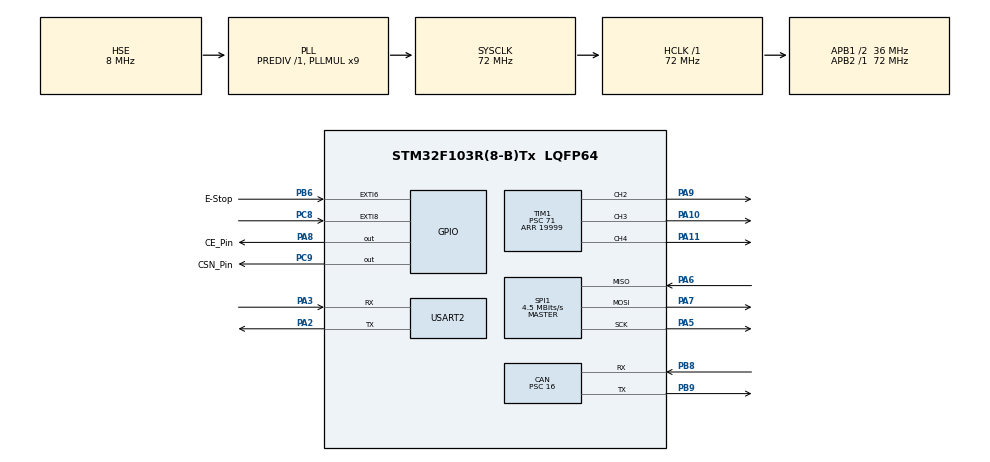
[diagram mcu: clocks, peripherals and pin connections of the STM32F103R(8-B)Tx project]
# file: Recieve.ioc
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CAN.CalculateBaudRate=749999
CAN.CalculateTimeBit=1333
CAN.CalculateTimeQuantum=444.44444444444446
CAN.Prescaler=16
CAN.SJW=CAN_SJW_1TQ
Mcu.Family=STM32F1
Mcu.Name=STM32F103R(8-B)Tx
Mcu.Package=LQFP64
NVIC.EXTI9_5_IRQn=true\:0\:0\:false\:false\:true\:true\:true\:true
NVIC.PriorityGroup=NVIC_PRIORITYGROUP_4
NVIC.TIM3_IRQn=true\:0\:0\:false\:false\:true\:true\:true\:true
PA10.Signal=S_TIM1_CH3
PA11.Signal=S_TIM1_CH4
PA2.Mode=Asynchronous
PA2.Signal=USART2_TX
PA3.Mode=Asynchronous
PA3.Signal=USART2_RX
PA5.Mode=Full_Duplex_Master
PA5.Signal=SPI1_SCK
PA6.Mode=Full_Duplex_Master
PA6.Signal=SPI1_MISO
PA7.Mode=Full_Duplex_Master
PA7.Signal=SPI1_MOSI
PA8.GPIO_Label=CE_Pin
PA8.Signal=GPIO_Output
PA9.Signal=S_TIM1_CH2
PB6.GPIO_Label=E-Stop
PB6.GPIO_ModeDefaultEXTI=GPIO_MODE_IT_FALLING
PB6.GPIO_PuPd=GPIO_PULLUP
PB6.Signal=GPXTI6
PB8.Mode=CAN_Activate
PB8.Signal=CAN_RX
PB9.Mode=CAN_Activate
PB9.Signal=CAN_TX
PC14-OSC32_IN.Mode=LSE-External-Oscillator
PC14-OSC32_IN.Signal=RCC_OSC32_IN
PC15-OSC32_OUT.Mode=LSE-External-Oscillator
PC15-OSC32_OUT.Signal=RCC_OSC32_OUT
PC8.GPIO_ModeDefaultEXTI=GPIO_MODE_IT_FALLING
PC8.GPIO_PuPd=GPIO_PULLUP
PC8.Signal=GPXTI8
PC9.GPIO_Label=CSN_Pin
PC9.Signal=GPIO_Output
PD0-OSC_IN.Mode=HSE-External-Clock-Source
PD0-OSC_IN.Signal=RCC_OSC_IN
PD1-OSC_OUT.Mode=HSE-External-Clock-Source
PD1-OSC_OUT.Signal=RCC_OSC_OUT
ProjectManager.HeapSize=0x200
ProjectManager.StackSize=0x400
ProjectManager.TargetToolchain=STM32CubeIDE
RCC.AHBFreq_Value=72000000
RCC.APB1CLKDivider=RCC_HCLK_DIV2
RCC.APB1Freq_Value=36000000
RCC.APB1TimFreq_Value=72000000
RCC.APB2Freq_Value=72000000
RCC.APB2TimFreq_Value=72000000
RCC.HCLKFreq_Value=72000000
RCC.PLLMUL=RCC_PLL_MUL9
RCC.PLLSourceVirtual=RCC_PLLSOURCE_HSE
RCC.SYSCLKFreq_VALUE=72000000
RCC.SYSCLKSource=RCC_SYSCLKSOURCE_PLLCLK
RCC.USBFreq_Value=72000000
SH.S_TIM1_CH2.0=TIM1_CH2,PWM Generation2 CH2
SH.S_TIM1_CH3.0=TIM1_CH3,PWM Generation3 CH3
SH.S_TIM1_CH4.0=TIM1_CH4,PWM Generation4 CH4
SPI1.BaudRatePrescaler=SPI_BAUDRATEPRESCALER_16
SPI1.CalculateBaudRate=4.5 MBits/s
SPI1.Direction=SPI_DIRECTION_2LINES
SPI1.Mode=SPI_MODE_MASTER
SPI1.VirtualType=VM_MASTER
TIM1.Channel-PWM\ Generation2\ CH2=TIM_CHANNEL_2
TIM1.Channel-PWM\ Generation3\ CH3=TIM_CHANNEL_3
TIM1.Channel-PWM\ Generation4\ CH4=TIM_CHANNEL_4
TIM1.Period=19999
TIM1.Prescaler=71
TIM3.Period=500-1
TIM3.Prescaler=7200-1
USART2.VirtualMode=VM_ASYNC
VP_SYS_VS_ND.Mode=No_Debug
VP_TIM1_VS_ClockSourceINT.Mode=Internal
VP_TIM3_VS_ClockSourceINT.Mode=Internal
board=custom

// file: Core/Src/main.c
/* USER CODE BEGIN Header */
/**
  ******************************************************************************
  * @file           : main.c
  * @brief          : Main program body
  ******************************************************************************
  * @attention
  *
  * Copyright (c) 2025 STMicroelectronics.
  * All rights reserved.
  *
  * This software is licensed under terms that can be found in the LICENSE file
  * in the root directory of this software component.
  * If no LICENSE file comes with this software, it is provided AS-IS.
  *
  ******************************************************************************
  */
/* USER CODE END Header */
#include "main.h"

/* USER CODE BEGIN Includes */
#include "NRF24.h"
#include "NRF24_conf.h"
#include "NRF24_reg_addresses.h"
#include "stdio.h"
#include "stdlib.h"
#include <math.h>

/* USER CODE END Includes */

/* USER CODE BEGIN PD */
#define ADC_MAX 4090     // 실제 최대값
#define ADC_MIN 0
#define ADC_NEU 2045	//ADC 중간값 4090/2
#define ADC_DEAD_ZONE 300	//데드존 처리 100

#define ROTATION_CONST -0.85f    // 회전 상수

#define RX_TIMEOUT_MS 100	//안정장치-100ms동안 조종기 신호가 없으면 통신이 끊겼다고 판단하고 모터를 정지시킴

#define MAX_ERPM 5000.0f

/* USER CODE END PD */

CAN_HandleTypeDef hcan;

SPI_HandleTypeDef hspi1;

TIM_HandleTypeDef htim1;
TIM_HandleTypeDef htim3;

UART_HandleTypeDef huart2;

/* USER CODE BEGIN PV */
uint8_t rx_address[5] = {0xE7, 0xE7, 0xE7, 0xE7, 0xE7}; // 수신 파이프 주소를 송신부와 동일하게 설정

//interrupt flag
volatile uint8_t nrf_irq_flag = 0;
volatile uint8_t watchdog_flag = 0;

//system state
static uint32_t last_rx_ms = 0;
static uint16_t pwm_active = 0;

//E stop 래치 플래그
volatile estop_latched =0;

/* USER CODE END PV */

void SystemClock_Config(void);
static void MX_GPIO_Init(void);
static void MX_SPI1_Init(void);
static void MX_TIM1_Init(void);
static void MX_USART2_UART_Init(void);
static void MX_TIM3_Init(void);
static void MX_CAN_Init(void);
/* USER CODE BEGIN PFP */
//함수선언
void nrf24_receiver_setup(void);
void nrf24_irq_service(void);
void system_watchdog_service(void); // ★ Watchdog service function
float NormalizeADC(int16_t delta);
uint16_t SpeedToPWMus(float value);
void KiwiDrive(float vx, float vy, float omega);
void DebugUART(uint16_t rawX, uint16_t rawY, uint16_t rawZ);
void PWM_StartNeutral(void);
void PWM_StopAll(void);
/* USER CODE END PFP */

int main(void)
{

  /* MCU Configuration--------------------------------------------------------*/

  /* Reset of all peripherals, Initializes the Flash interface and the Systick. */
  HAL_Init();

  /* Configure the system clock */
  SystemClock_Config();

  /* Initialize all configured peripherals */
  MX_GPIO_Init();
  MX_SPI1_Init();
  MX_TIM1_Init();
  MX_USART2_UART_Init();
  MX_TIM3_Init();
  MX_CAN_Init();
  /* USER CODE BEGIN 2 */
  // nRF24 초기화 (수신기)
  nrf24_init();
  nrf24_receiver_setup();
  HAL_TIM_Base_Start_IT(&htim3);	//TIM3 시작

  /* USER CODE END 2 */

  /* Infinite loop */
  while (1)
  {

    /* USER CODE BEGIN 3 */
	  //---데이터 수신 이벤트 처리---
	  if(nrf_irq_flag){
		  nrf_irq_flag = 0;	//flag 내리기
		  nrf24_irq_service();	//데이터 처리 함수 호출, 모터 제어
	  }
	  //---TIM3기반 와치독 이벤트 처리---
	  if(watchdog_flag){
		  watchdog_flag = 0;	//확인 후 flag 내림
		  system_watchdog_service();	//와치독 함수 호출
	  }

	  //---저전력 모드 진입(WFI)---
	  if(!nrf_irq_flag && !watchdog_flag){	//두개의 flag가 내려가 있으면 처리할 이벤트가 없으므로 WFI
		  __WFI();
	  }
  }
  /* USER CODE END 3 */
}

void SystemClock_Config(void)
{
  RCC_OscInitTypeDef RCC_OscInitStruct = {0};
  RCC_ClkInitTypeDef RCC_ClkInitStruct = {0};

  /** Initializes the RCC Oscillators according to the specified parameters
  * in the RCC_OscInitTypeDef structure.
  */
  RCC_OscInitStruct.OscillatorType = RCC_OSCILLATORTYPE_HSE;
  RCC_OscInitStruct.HSEState = RCC_HSE_BYPASS;
  RCC_OscInitStruct.HSEPredivValue = RCC_HSE_PREDIV_DIV1;
  RCC_OscInitStruct.HSIState = RCC_HSI_ON;
  RCC_OscInitStruct.PLL.PLLState = RCC_PLL_ON;
  RCC_OscInitStruct.PLL.PLLSource = RCC_PLLSOURCE_HSE;
  RCC_OscInitStruct.PLL.PLLMUL = RCC_PLL_MUL9;
  if (HAL_RCC_OscConfig(&RCC_OscInitStruct) != HAL_OK)
  {
    Error_Handler();
  }

  /** Initializes the CPU, AHB and APB buses clocks
  */
  RCC_ClkInitStruct.ClockType = RCC_CLOCKTYPE_HCLK|RCC_CLOCKTYPE_SYSCLK
                              |RCC_CLOCKTYPE_PCLK1|RCC_CLOCKTYPE_PCLK2;
  RCC_ClkInitStruct.SYSCLKSource = RCC_SYSCLKSOURCE_PLLCLK;
  RCC_ClkInitStruct.AHBCLKDivider = RCC_SYSCLK_DIV1;
  RCC_ClkInitStruct.APB1CLKDivider = RCC_HCLK_DIV2;
  RCC_ClkInitStruct.APB2CLKDivider = RCC_HCLK_DIV1;

  if (HAL_RCC_ClockConfig(&RCC_ClkInitStruct, FLASH_LATENCY_2) != HAL_OK)
  {
    Error_Handler();
  }
}

static void MX_CAN_Init(void)
{

  hcan.Instance = CAN1;
  hcan.Init.Prescaler = 16;
  hcan.Init.Mode = CAN_MODE_NORMAL;
  hcan.Init.SyncJumpWidth = CAN_SJW_1TQ;
  hcan.Init.TimeSeg1 = CAN_BS1_1TQ;
  hcan.Init.TimeSeg2 = CAN_BS2_1TQ;
  hcan.Init.TimeTriggeredMode = DISABLE;
  hcan.Init.AutoBusOff = DISABLE;
  hcan.Init.AutoWakeUp = DISABLE;
  hcan.Init.AutoRetransmission = DISABLE;
  hcan.Init.ReceiveFifoLocked = DISABLE;
  hcan.Init.TransmitFifoPriority = DISABLE;
  if (HAL_CAN_Init(&hcan) != HAL_OK)
  {
    Error_Handler();
  }

}

static void MX_SPI1_Init(void)
{

  /* SPI1 parameter configuration*/
  hspi1.Instance = SPI1;
  hspi1.Init.Mode = SPI_MODE_MASTER;
  hspi1.Init.Direction = SPI_DIRECTION_2LINES;
  hspi1.Init.DataSize = SPI_DATASIZE_8BIT;
  hspi1.Init.CLKPolarity = SPI_POLARITY_LOW;
  hspi1.Init.CLKPhase = SPI_PHASE_1EDGE;
  hspi1.Init.NSS = SPI_NSS_SOFT;
  hspi1.Init.BaudRatePrescaler = SPI_BAUDRATEPRESCALER_16;
  hspi1.Init.FirstBit = SPI_FIRSTBIT_MSB;
  hspi1.Init.TIMode = SPI_TIMODE_DISABLE;
  hspi1.Init.CRCCalculation = SPI_CRCCALCULATION_DISABLE;
  hspi1.Init.CRCPolynomial = 10;
  if (HAL_SPI_Init(&hspi1) != HAL_OK)
  {
    Error_Handler();
  }

}

static void MX_TIM1_Init(void)
{

  TIM_ClockConfigTypeDef sClockSourceConfig = {0};
  TIM_MasterConfigTypeDef sMasterConfig = {0};
  TIM_OC_InitTypeDef sConfigOC = {0};
  TIM_BreakDeadTimeConfigTypeDef sBreakDeadTimeConfig = {0};

  htim1.Instance = TIM1;
  htim1.Init.Prescaler = 71;
  htim1.Init.CounterMode = TIM_COUNTERMODE_UP;
  htim1.Init.Period = 19999;
  htim1.Init.ClockDivision = TIM_CLOCKDIVISION_DIV1;
  htim1.Init.RepetitionCounter = 0;
  htim1.Init.AutoReloadPreload = TIM_AUTORELOAD_PRELOAD_DISABLE;
  if (HAL_TIM_Base_Init(&htim1) != HAL_OK)
  {
    Error_Handler();
  }
  sClockSourceConfig.ClockSource = TIM_CLOCKSOURCE_INTERNAL;
  if (HAL_TIM_ConfigClockSource(&htim1, &sClockSourceConfig) != HAL_OK)
  {
    Error_Handler();
  }
  if (HAL_TIM_PWM_Init(&htim1) != HAL_OK)
  {
    Error_Handler();
  }
  sMasterConfig.MasterOutputTrigger = TIM_TRGO_RESET;
  sMasterConfig.MasterSlaveMode = TIM_MASTERSLAVEMODE_DISABLE;
  if (HAL_TIMEx_MasterConfigSynchronization(&htim1, &sMasterConfig) != HAL_OK)
  {
    Error_Handler();
  }
  sConfigOC.OCMode = TIM_OCMODE_PWM1;
  sConfigOC.Pulse = 0;
  sConfigOC.OCPolarity = TIM_OCPOLARITY_HIGH;
  sConfigOC.OCNPolarity = TIM_OCNPOLARITY_HIGH;
  sConfigOC.OCFastMode = TIM_OCFAST_DISABLE;
  sConfigOC.OCIdleState = TIM_OCIDLESTATE_RESET;
  sConfigOC.OCNIdleState = TIM_OCNIDLESTATE_RESET;
  if (HAL_TIM_PWM_ConfigChannel(&htim1, &sConfigOC, TIM_CHANNEL_2) != HAL_OK)
  {
    Error_Handler();
  }
  if (HAL_TIM_PWM_ConfigChannel(&htim1, &sConfigOC, TIM_CHANNEL_3) != HAL_OK)
  {
    Error_Handler();
  }
  if (HAL_TIM_PWM_ConfigChannel(&htim1, &sConfigOC, TIM_CHANNEL_4) != HAL_OK)
  {
    Error_Handler();
  }
  sBreakDeadTimeConfig.OffStateRunMode = TIM_OSSR_DISABLE;
  sBreakDeadTimeConfig.OffStateIDLEMode = TIM_OSSI_DISABLE;
  sBreakDeadTimeConfig.LockLevel = TIM_LOCKLEVEL_OFF;
  sBreakDeadTimeConfig.DeadTime = 0;
  sBreakDeadTimeConfig.BreakState = TIM_BREAK_DISABLE;
  sBreakDeadTimeConfig.BreakPolarity = TIM_BREAKPOLARITY_HIGH;
  sBreakDeadTimeConfig.AutomaticOutput = TIM_AUTOMATICOUTPUT_DISABLE;
  if (HAL_TIMEx_ConfigBreakDeadTime(&htim1, &sBreakDeadTimeConfig) != HAL_OK)
  {
    Error_Handler();
  }
  HAL_TIM_MspPostInit(&htim1);

}

static void MX_TIM3_Init(void)
{

  TIM_ClockConfigTypeDef sClockSourceConfig = {0};
  TIM_MasterConfigTypeDef sMasterConfig = {0};

  htim3.Instance = TIM3;
  htim3.Init.Prescaler = 7200-1;
  htim3.Init.CounterMode = TIM_COUNTERMODE_UP;
  htim3.Init.Period = 500-1;
  htim3.Init.ClockDivision = TIM_CLOCKDIVISION_DIV1;
  htim3.Init.AutoReloadPreload = TIM_AUTORELOAD_PRELOAD_DISABLE;
  if (HAL_TIM_Base_Init(&htim3) != HAL_OK)
  {
    Error_Handler();
  }
  sClockSourceConfig.ClockSource = TIM_CLOCKSOURCE_INTERNAL;
  if (HAL_TIM_ConfigClockSource(&htim3, &sClockSourceConfig) != HAL_OK)
  {
    Error_Handler();
  }
  sMasterConfig.MasterOutputTrigger = TIM_TRGO_RESET;
  sMasterConfig.MasterSlaveMode = TIM_MASTERSLAVEMODE_DISABLE;
  if (HAL_TIMEx_MasterConfigSynchronization(&htim3, &sMasterConfig) != HAL_OK)
  {
    Error_Handler();
  }

}

static void MX_USART2_UART_Init(void)
{

  huart2.Instance = USART2;
  huart2.Init.BaudRate = 115200;
  huart2.Init.WordLength = UART_WORDLENGTH_8B;
  huart2.Init.StopBits = UART_STOPBITS_1;
  huart2.Init.Parity = UART_PARITY_NONE;
  huart2.Init.Mode = UART_MODE_TX_RX;
  huart2.Init.HwFlowCtl = UART_HWCONTROL_NONE;
  huart2.Init.OverSampling = UART_OVERSAMPLING_16;
  if (HAL_UART_Init(&huart2) != HAL_OK)
  {
    Error_Handler();
  }

}

static void MX_GPIO_Init(void)
{
  GPIO_InitTypeDef GPIO_InitStruct = {0};

  /* GPIO Ports Clock Enable */
  __HAL_RCC_GPIOC_CLK_ENABLE();
  __HAL_RCC_GPIOD_CLK_ENABLE();
  __HAL_RCC_GPIOA_CLK_ENABLE();
  __HAL_RCC_GPIOB_CLK_ENABLE();

  /*Configure GPIO pin Output Level */
  HAL_GPIO_WritePin(CSN_Pin_GPIO_Port, CSN_Pin_Pin, GPIO_PIN_RESET);

  /*Configure GPIO pin Output Level */
  HAL_GPIO_WritePin(CE_Pin_GPIO_Port, CE_Pin_Pin, GPIO_PIN_RESET);

  /*Configure GPIO pin : PC8 */
  GPIO_InitStruct.Pin = GPIO_PIN_8;
  GPIO_InitStruct.Mode = GPIO_MODE_IT_FALLING;
  GPIO_InitStruct.Pull = GPIO_PULLUP;
  HAL_GPIO_Init(GPIOC, &GPIO_InitStruct);

  /*Configure GPIO pin : CSN_Pin_Pin */
  GPIO_InitStruct.Pin = CSN_Pin_Pin;
  GPIO_InitStruct.Mode = GPIO_MODE_OUTPUT_PP;
  GPIO_InitStruct.Pull = GPIO_NOPULL;
  GPIO_InitStruct.Speed = GPIO_SPEED_FREQ_LOW;
  HAL_GPIO_Init(CSN_Pin_GPIO_Port, &GPIO_InitStruct);

  /*Configure GPIO pin : CE_Pin_Pin */
  GPIO_InitStruct.Pin = CE_Pin_Pin;
  GPIO_InitStruct.Mode = GPIO_MODE_OUTPUT_PP;
  GPIO_InitStruct.Pull = GPIO_NOPULL;
  GPIO_InitStruct.Speed = GPIO_SPEED_FREQ_LOW;
  HAL_GPIO_Init(CE_Pin_GPIO_Port, &GPIO_InitStruct);

  /*Configure GPIO pin : E_Stop_Pin */
  GPIO_InitStruct.Pin = E_Stop_Pin;
  GPIO_InitStruct.Mode = GPIO_MODE_IT_FALLING;
  GPIO_InitStruct.Pull = GPIO_PULLUP;
  HAL_GPIO_Init(E_Stop_GPIO_Port, &GPIO_InitStruct);

  /* EXTI interrupt init*/
  HAL_NVIC_SetPriority(EXTI9_5_IRQn, 0, 0);
  HAL_NVIC_EnableIRQ(EXTI9_5_IRQn);

}

/* USER CODE BEGIN 4 */
void HAL_GPIO_EXTI_Callback(uint16_t GPIO_Pin){
	//nRF24L01 모듈이 데이터를 수신하면 PC IRQ핀에 하강엣지 트리거 발생, 위 콜백함수 호출
	if(GPIO_Pin == GPIO_PIN_8){	//이 인터럽트가 PC8핀에서 발생했으면
		nrf_irq_flag = 1;	//Main 루프에 데이터 도착 플래그 올림
	}else if(GPIO_Pin == GPIO_PIN_6){
		//비상 정지버튼 E-STOP에서 인터럽트가 발생했다면
		PWM_StopAll();	//모든 pwm중지
		estop_latched = 1;
	}
}

void nrf24_irq_service(void){
	// E-Stop 잠금 확인
	// E-Stop이 한번이라도 눌렸으면 1, 모든 NRF 패킷을 무시함.
	if(estop_latched) {
		nrf24_stop_listen();
		uint8_t st = nrf24_r_reg(STATUS, 1);
		if(st & (1<<6)) {
			nrf24_clear_rx_dr(); // IRQ 플래그만 제거
		}
		nrf24_listen();
		return; // 모터 제어 로직을 실행하지 않고 즉시 종료
	}
	nrf24_stop_listen();
	uint8_t st = nrf24_r_reg(STATUS, 1);

	if(st & (1<<6)){
		uint8_t buf[6];
		nrf24_receive(buf,6);

		// 6바이트 2진 언패킹(unpacking)
		uint16_t rawX = (uint16_t)buf[0] | ((uint16_t)buf[1] << 8);
		uint16_t rawY = (uint16_t)buf[2] | ((uint16_t)buf[3] << 8);
		uint16_t rawZ = (uint16_t)buf[4] | ((uint16_t)buf[5] << 8);

		if(!pwm_active){
			PWM_StartNeutral();
		}

		//읽어온 값을 실제 모터 제어값으로 정규화
		float vx = NormalizeADC((int16_t)rawX); // 부호 있어야함
		float vy = NormalizeADC((int16_t)rawY);
		float omega = NormalizeADC((int16_t)rawZ);

		//변환된 값으로 키위 드라이브 알고리즘을 실행, 모터 구동
		KiwiDrive(vx, vy, omega);

		DebugUART(rawX, rawY, rawZ);
		//TIM3 워치독을 위해 마지막으로 데이터를 수신한 시간을 현재시간으로 갱신
		last_rx_ms = HAL_GetTick();

		//nrf24의 RX_DR상태 비터를 0으로 claer, 다음 인터럽트 받을 준비
		nrf24_clear_rx_dr();
	}
	nrf24_listen();	//데이터 수신 대기모드

}

void HAL_TIM_PeriodElapsedCallback(TIM_HandleTypeDef* htim){
	//50ms마다 발생하는 인터럽트(TIM3)
	if(htim->Instance == TIM3){	//이 인터럽트가 TIM3에서 발생했으면
		watchdog_flag = 1;	//Main 루프에 점검할 시간이라고 플래그 올림
	}
}

void system_watchdog_service(void){	//워치독 서비스
	// E-Stop이 눌렸으면 통신 감시도 중지
	if(estop_latched) {
			if(pwm_active) {
				PWM_StopAll(); // 혹시 모르니 다시 한번 정지
			}
			return;
		}

	if(pwm_active){
		//모터가 동작 중일때만 감시 수행
		if((HAL_GetTick() - last_rx_ms) > RX_TIMEOUT_MS){	//현재시간과 마지막 데이터 수신 시간의 차이가 타임아웃(100ms)를 초과했다면
			PWM_StopAll();	//모든 모터 정지
		}
	}
}

void PWM_StartNeutral(void){
	//초기 PWM 중립 세팅
    __HAL_TIM_SET_COMPARE(&htim1, TIM_CHANNEL_2, 1500);
    __HAL_TIM_SET_COMPARE(&htim1, TIM_CHANNEL_3, 1500);
    __HAL_TIM_SET_COMPARE(&htim1, TIM_CHANNEL_4, 1500);

    //PWM 시작
	HAL_TIM_PWM_Start(&htim1, TIM_CHANNEL_2);
	HAL_TIM_PWM_Start(&htim1, TIM_CHANNEL_3);
	HAL_TIM_PWM_Start(&htim1, TIM_CHANNEL_4);

	pwm_active = 1;	//시스템 상태를 pwm 활성화로 변경하는 플래그
}

//모든 채널의 PWM 완전 정지
void PWM_StopAll(void){
    HAL_TIM_PWM_Stop(&htim1, TIM_CHANNEL_2);
    HAL_TIM_PWM_Stop(&htim1, TIM_CHANNEL_3);
    HAL_TIM_PWM_Stop(&htim1, TIM_CHANNEL_4);

    pwm_active = 0;
}

void nrf24_receiver_setup(void){
    nrf24_defaults();                               //레지스터 기본값으로 리셋
    HAL_Delay(5);                                   //전원, spi안정화 대기(최소 4.5ms이상 필요)
    nrf24_stop_listen();
    nrf24_pwr_up();
    HAL_Delay(2);

    nrf24_flush_rx();
    nrf24_flush_tx();
    nrf24_clear_rx_dr();
    nrf24_clear_tx_ds();
    nrf24_clear_max_rt();

    nrf24_set_channel(40); //무선 채널 40설정
    nrf24_data_rate(_1mbps);
    nrf24_auto_ack_all(disable);
    nrf24_dpl(disable); //ack 비활성화
    nrf24_set_payload_size(6);

    uint8_t cfg = nrf24_r_reg(CONFIG, 1);
    // TX_DS와 MAX_RT 인터럽트는 비활성화(Mask)하고, RX_DR만 남겨둔다.
    cfg |= (1 << 5) | (1 << 4); // Bit 5와 4를 1로 만듦(비활성화)
    cfg &= ~(1 << 6);           // Bit 6은 0으로 만듦 (RX_DR 활성화)
    nrf24_w_reg(CONFIG, &cfg, 1);

    nrf24_open_rx_pipe(0, rx_address);              //파이프 0에 수신주소 설정
    nrf24_listen();                                 //CE=high => 실제 수신 대기모드 진입
    __HAL_GPIO_EXTI_CLEAR_IT(GPIO_PIN_8);	//인터럽트 플래그 초기화

}

/*
int try_receive_nrf24(uint16_t *rawX, uint16_t *rawY, uint16_t *rawZ){
    if (!nrf24_data_available()){
    	return 0;
    }

    uint8_t buf[6];
    nrf24_receive(buf, 6);

    *rawX = (uint16_t)buf[0] | ((uint16_t)buf[1] << 8);
    *rawY = (uint16_t)buf[2] | ((uint16_t)buf[3] << 8);
    *rawZ = (uint16_t)buf[4] | ((uint16_t)buf[5] << 8);

    nrf24_clear_rx_dr();

    while(nrf24_data_available()) {
        uint8_t dummy[6];
        nrf24_receive(dummy, 6);
        nrf24_clear_rx_dr();
    }
    return 1;
}
*/

float NormalizeADC(int16_t raw){
    int16_t delta = raw - ADC_NEU;

    if(abs(delta) < ADC_DEAD_ZONE){
        return 0.0f;
    }

    if(delta > 0) {
        // CW 방향: 중간값~최대값 → 0~1
        return (float)delta / (float)(ADC_MAX - ADC_NEU);  // /2010
    } else {
        // CCW 방향: 최소값~중간값 → -1~0
        return (float)delta / (float)(ADC_NEU - ADC_MIN);  // /2010
    }
}

uint16_t SpeedToPWMus(float speed_fraction) {
    // speed_fraction은 -1.0 ~ 1.0 범위의 값
    float target_erpm = speed_fraction * MAX_ERPM; // 목표 ERPM 계산

    // 목표 ERPM을 1000us ~ 2000us 범위의 PWM 펄스 폭으로 변환
    float pulse_width = 1500.0f + (target_erpm / MAX_ERPM) * 500.0f;

    // 안전장치
    if (pulse_width > 2000.0f) pulse_width = 2000.0f;
    if (pulse_width < 1000.0f) pulse_width = 1000.0f;

    return (uint16_t)pulse_width;
}

void KiwiDrive(float vx, float vy, float omega){	//임의로 설정 1.0*vy, 0.7*vx는 횡이동이 잘됨 하지만 대각이동은 안됨
	float Rw = ROTATION_CONST * omega;

    // 보정 계수가 없는, 순수하고 올바른 표준 수학 모델
    float Mtop = 1.0f * vx + Rw;
    float Mbl  = 0.866f * vy - 0.5f * vx + Rw;
    float Mbr  = -0.866f * vy - 0.5f * vx + Rw;

	float maxM = fmaxf(fabsf(Mtop), fmaxf(fabsf(Mbl), fabsf(Mbr)));
	if (maxM > 1.0f) {
	    Mtop /= maxM;
	    Mbl  /= maxM;
	    Mbr  /= maxM;
	}

	//PWM(us)변환 후 TIM1 채널에 출력
	__HAL_TIM_SET_COMPARE(&htim1, TIM_CHANNEL_2, SpeedToPWMus(Mtop)); //PA9 TIM1_CH2
	__HAL_TIM_SET_COMPARE(&htim1, TIM_CHANNEL_3, SpeedToPWMus(Mbl));	 //PA10 TIM1_CH3
	__HAL_TIM_SET_COMPARE(&htim1, TIM_CHANNEL_4, SpeedToPWMus(Mbr));	 //PA11 TIM1_CH4
}

void DebugUART(uint16_t rawX, uint16_t rawY, uint16_t rawZ){
	char buf[128];
	// 초기화된 채널 2, 3, 4에서 PWM 값을 읽어옴
	uint16_t pwm_ch2 = __HAL_TIM_GET_COMPARE(&htim1, TIM_CHANNEL_2);
	uint16_t pwm_ch3 = __HAL_TIM_GET_COMPARE(&htim1, TIM_CHANNEL_3);
	uint16_t pwm_ch4 = __HAL_TIM_GET_COMPARE(&htim1, TIM_CHANNEL_4);

	int len = snprintf(buf, sizeof(buf),
			"X:%4u, Y:%4u, Z:%4u | M_top(CH2):%4u, M_bl(CH3):%4u, M_br(CH4):%4u\n",
			rawX, rawY, rawZ, pwm_ch2, pwm_ch3, pwm_ch4);

	HAL_UART_Transmit(&huart2, (uint8_t*)buf, len, HAL_MAX_DELAY);
}
/* USER CODE END 4 */

void Error_Handler(void)
{
  __disable_irq();
  while (1)
  {
  }
}
